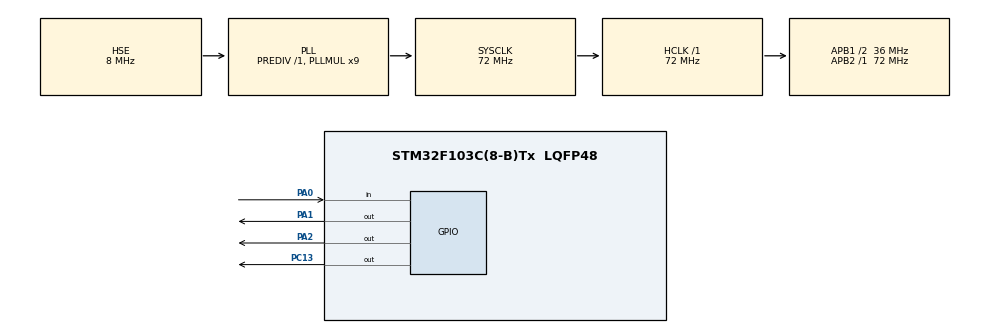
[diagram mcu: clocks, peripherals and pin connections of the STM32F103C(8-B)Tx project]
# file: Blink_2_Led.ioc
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Mcu.Family=STM32F1
Mcu.Name=STM32F103C(8-B)Tx
Mcu.Package=LQFP48
NVIC.PriorityGroup=NVIC_PRIORITYGROUP_4
PA0-WKUP.Signal=GPIO_Input
PA1.Signal=GPIO_Output
PA13.Mode=Serial_Wire
PA13.Signal=SYS_JTMS-SWDIO
PA14.Mode=Serial_Wire
PA14.Signal=SYS_JTCK-SWCLK
PA2.Signal=GPIO_Output
PC13-TAMPER-RTC.Signal=GPIO_Output
PD0-OSC_IN.Mode=HSE-External-Oscillator
PD0-OSC_IN.Signal=RCC_OSC_IN
PD1-OSC_OUT.Mode=HSE-External-Oscillator
PD1-OSC_OUT.Signal=RCC_OSC_OUT
ProjectManager.HeapSize=0x200
ProjectManager.StackSize=0x400
ProjectManager.TargetToolchain=MDK-ARM V5.32
RCC.AHBFreq_Value=72000000
RCC.APB1CLKDivider=RCC_HCLK_DIV2
RCC.APB1Freq_Value=36000000
RCC.APB1TimFreq_Value=72000000
RCC.APB2Freq_Value=72000000
RCC.APB2TimFreq_Value=72000000
RCC.HCLKFreq_Value=72000000
RCC.PLLMUL=RCC_PLL_MUL9
RCC.PLLSourceVirtual=RCC_PLLSOURCE_HSE
RCC.SYSCLKFreq_VALUE=72000000
RCC.SYSCLKSource=RCC_SYSCLKSOURCE_PLLCLK
RCC.USBFreq_Value=72000000
board=custom

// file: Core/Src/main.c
/* USER CODE BEGIN Header */
/**
  ******************************************************************************
  * @file           : main.c
  * @brief          : Main program body
  ******************************************************************************
  * @attention
  *
  * Copyright (c) 2023 STMicroelectronics.
  * All rights reserved.
  *
  * This software is licensed under terms that can be found in the LICENSE file
  * in the root directory of this software component.
  * If no LICENSE file comes with this software, it is provided AS-IS.
  *
  ******************************************************************************
  */
/* USER CODE END Header */
#include "main.h"

void SystemClock_Config(void);
static void MX_GPIO_Init(void);

/* USER CODE BEGIN 0 */
typedef enum
{
	Led_Blink_None = 0,
	Led_Blink_1 ,
	Led_Blink_2,
	Led_Blink_All,
}State_Led_t;

State_Led_t state_led;

void blink_led_1()
{
	static uint8_t sta =0;
	static uint32_t t=0;
	if(HAL_GetTick() - t >=500)
	{
		sta= !sta;
		HAL_GPIO_WritePin(GPIOA,GPIO_PIN_1, (GPIO_PinState)sta);
		t = HAL_GetTick();
	}
}
void blink_led_2()
{
	static uint32_t t=0;
	static uint8_t sta=0;
	if(HAL_GetTick() - t>=100)
	{
		sta= !sta;
		HAL_GPIO_WritePin(GPIOA,GPIO_PIN_2, (GPIO_PinState)sta);
		t=HAL_GetTick();
	}
}
void blink_led_none()
{
	HAL_GPIO_WritePin(GPIOA, GPIO_PIN_1, GPIO_PIN_RESET);
	HAL_GPIO_WritePin(GPIOA, GPIO_PIN_2, GPIO_PIN_RESET);
}

static uint32_t timePress = 0;
void process_button()
{
	static uint8_t isPress =0;
	if(HAL_GPIO_ReadPin(GPIOA,GPIO_PIN_0) ==0)
		{
			if(isPress==0)
			{
			HAL_Delay(20);
				if (HAL_GPIO_ReadPin(GPIOA,GPIO_PIN_0)==0)
				{
					timePress =HAL_GetTick();
					isPress=1;
				}
			}
			if(HAL_GetTick()-timePress>=3000)
			{
				state_led = Led_Blink_None;
				timePress = HAL_GetTick();
			}
		}
	else
	{
		if (isPress ==1)
		{
			if(state_led== Led_Blink_All)
				{
					state_led = Led_Blink_1;
				}
				else if(state_led == Led_Blink_1)
				{
					state_led = Led_Blink_2;
				}
				else if(state_led == Led_Blink_2)
				{
					state_led = Led_Blink_All;
				}
		}
		isPress = 0;
	}
}

/* USER CODE END 0 */

int main(void)
{
  /* USER CODE BEGIN 1 */
	state_led = Led_Blink_All;

  /* USER CODE END 1 */

  /* MCU Configuration--------------------------------------------------------*/

  /* Reset of all peripherals, Initializes the Flash interface and the Systick. */
  HAL_Init();

  /* Configure the system clock */
  SystemClock_Config();

  /* Initialize all configured peripherals */
  MX_GPIO_Init();

  /* Infinite loop */
  while (1)
  {

    /* USER CODE BEGIN 3 */

		process_button();
		switch(state_led)
		{
			case Led_Blink_1:
				blink_led_1();
				break;
			case Led_Blink_2:
				blink_led_2();
				break;
			case Led_Blink_All:
				blink_led_1();
				blink_led_2();
				break;
			case Led_Blink_None:
//				HAL_GPIO_WritePin(GPIOA,GPIO_PIN_1,GPIO_PIN_RESET);
//				HAL_GPIO_WritePin(GPIOA,GPIO_PIN_2,GPIO_PIN_RESET);
				blink_led_none();
				break;
		}

//		blink_led_1();
//		blink_led_2();
  }
  /* USER CODE END 3 */
}

void SystemClock_Config(void)
{
  RCC_OscInitTypeDef RCC_OscInitStruct = {0};
  RCC_ClkInitTypeDef RCC_ClkInitStruct = {0};

  /** Initializes the RCC Oscillators according to the specified parameters
  * in the RCC_OscInitTypeDef structure.
  */
  RCC_OscInitStruct.OscillatorType = RCC_OSCILLATORTYPE_HSE;
  RCC_OscInitStruct.HSEState = RCC_HSE_ON;
  RCC_OscInitStruct.HSEPredivValue = RCC_HSE_PREDIV_DIV1;
  RCC_OscInitStruct.HSIState = RCC_HSI_ON;
  RCC_OscInitStruct.PLL.PLLState = RCC_PLL_ON;
  RCC_OscInitStruct.PLL.PLLSource = RCC_PLLSOURCE_HSE;
  RCC_OscInitStruct.PLL.PLLMUL = RCC_PLL_MUL9;
  if (HAL_RCC_OscConfig(&RCC_OscInitStruct) != HAL_OK)
  {
    Error_Handler();
  }

  /** Initializes the CPU, AHB and APB buses clocks
  */
  RCC_ClkInitStruct.ClockType = RCC_CLOCKTYPE_HCLK|RCC_CLOCKTYPE_SYSCLK
                              |RCC_CLOCKTYPE_PCLK1|RCC_CLOCKTYPE_PCLK2;
  RCC_ClkInitStruct.SYSCLKSource = RCC_SYSCLKSOURCE_PLLCLK;
  RCC_ClkInitStruct.AHBCLKDivider = RCC_SYSCLK_DIV1;
  RCC_ClkInitStruct.APB1CLKDivider = RCC_HCLK_DIV2;
  RCC_ClkInitStruct.APB2CLKDivider = RCC_HCLK_DIV1;

  if (HAL_RCC_ClockConfig(&RCC_ClkInitStruct, FLASH_LATENCY_2) != HAL_OK)
  {
    Error_Handler();
  }
}

static void MX_GPIO_Init(void)
{
  GPIO_InitTypeDef GPIO_InitStruct = {0};

  /* GPIO Ports Clock Enable */
  __HAL_RCC_GPIOC_CLK_ENABLE();
  __HAL_RCC_GPIOD_CLK_ENABLE();
  __HAL_RCC_GPIOA_CLK_ENABLE();

  /*Configure GPIO pin Output Level */
  HAL_GPIO_WritePin(GPIOC, GPIO_PIN_13, GPIO_PIN_RESET);

  /*Configure GPIO pin Output Level */
  HAL_GPIO_WritePin(GPIOA, GPIO_PIN_1|GPIO_PIN_2, GPIO_PIN_RESET);

  /*Configure GPIO pin : PC13 */
  GPIO_InitStruct.Pin = GPIO_PIN_13;
  GPIO_InitStruct.Mode = GPIO_MODE_OUTPUT_PP;
  GPIO_InitStruct.Pull = GPIO_NOPULL;
  GPIO_InitStruct.Speed = GPIO_SPEED_FREQ_LOW;
  HAL_GPIO_Init(GPIOC, &GPIO_InitStruct);

  /*Configure GPIO pin : PA0 */
  GPIO_InitStruct.Pin = GPIO_PIN_0;
  GPIO_InitStruct.Mode = GPIO_MODE_INPUT;
  GPIO_InitStruct.Pull = GPIO_NOPULL;
  HAL_GPIO_Init(GPIOA, &GPIO_InitStruct);

  /*Configure GPIO pins : PA1 PA2 */
  GPIO_InitStruct.Pin = GPIO_PIN_1|GPIO_PIN_2;
  GPIO_InitStruct.Mode = GPIO_MODE_OUTPUT_PP;
  GPIO_InitStruct.Pull = GPIO_NOPULL;
  GPIO_InitStruct.Speed = GPIO_SPEED_FREQ_LOW;
  HAL_GPIO_Init(GPIOA, &GPIO_InitStruct);

}

void Error_Handler(void)
{
  __disable_irq();
  while (1)
  {
  }
}
